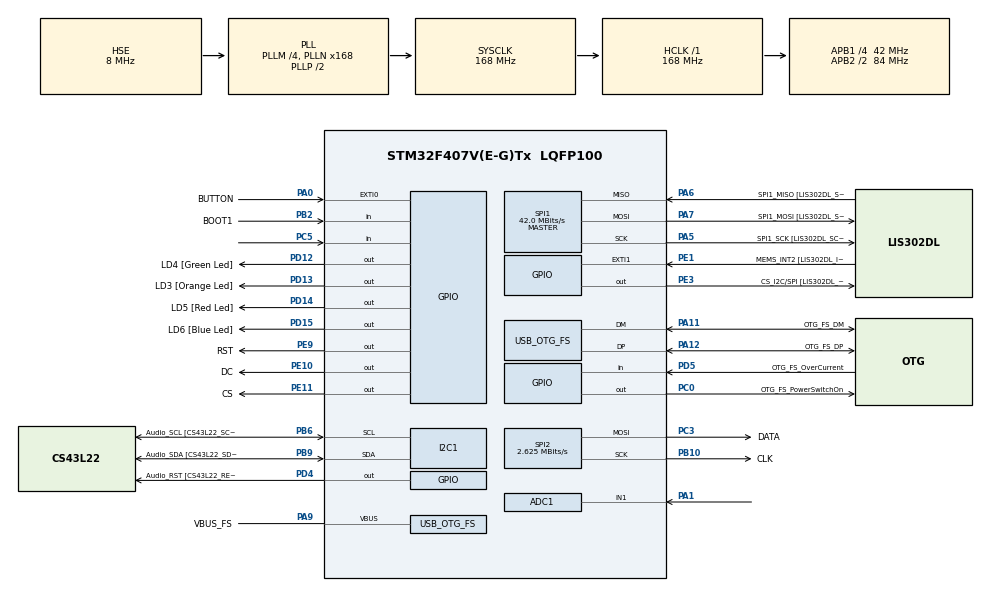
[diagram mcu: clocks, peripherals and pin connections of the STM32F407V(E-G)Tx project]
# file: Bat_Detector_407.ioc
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ADC1.Channel-0\#ChannelRegularConversion=ADC_CHANNEL_1
ADC1.ContinuousConvMode=DISABLE
ADC1.DMAContinuousRequests=ENABLE
ADC1.ExternalTrigConv=ADC_EXTERNALTRIGCONV_T3_TRGO
ADC1.NbrOfConversionFlag=1
ADC1.Rank-0\#ChannelRegularConversion=1
ADC1.Resolution=ADC_RESOLUTION_12B
ADC1.SamplingTime-0\#ChannelRegularConversion=ADC_SAMPLETIME_3CYCLES
ADC1.master=1
Dma.ADC1.0.Direction=DMA_PERIPH_TO_MEMORY
Dma.ADC1.0.FIFOMode=DMA_FIFOMODE_DISABLE
Dma.ADC1.0.Instance=DMA2_Stream0
Dma.ADC1.0.MemDataAlignment=DMA_MDATAALIGN_HALFWORD
Dma.ADC1.0.MemInc=DMA_MINC_ENABLE
Dma.ADC1.0.Mode=DMA_CIRCULAR
Dma.ADC1.0.PeriphDataAlignment=DMA_PDATAALIGN_HALFWORD
Dma.ADC1.0.PeriphInc=DMA_PINC_DISABLE
Dma.ADC1.0.Priority=DMA_PRIORITY_LOW
Dma.Request0=ADC1
FATFS._FS_LOCK=3
FATFS._USE_LFN=1
Mcu.Family=STM32F4
Mcu.Name=STM32F407V(E-G)Tx
Mcu.Package=LQFP100
NVIC.DMA2_Stream0_IRQn=true\:0\:0\:false\:false\:true\:false\:true
NVIC.EXTI0_IRQn=true\:0\:0\:false\:false\:true\:true\:true
NVIC.OTG_FS_IRQn=true\:0\:0\:false\:false\:true\:true\:true
NVIC.PriorityGroup=NVIC_PRIORITYGROUP_0
NVIC.TIM3_IRQn=true\:0\:0\:false\:false\:true\:true\:true
PA0-WKUP.GPIO_Label=BUTTON
PA0-WKUP.GPIO_ModeDefaultEXTI=GPIO_MODE_IT_RISING
PA0-WKUP.GPIO_PuPd=GPIO_NOPULL
PA0-WKUP.Signal=GPXTI0
PA1.Signal=ADCx_IN1
PA10.GPIO_Label=OTG_FS_ID
PA10.GPIO_Mode=GPIO_MODE_AF_PP
PA10.GPIO_PuPd=GPIO_NOPULL
PA10.GPIO_Speed=GPIO_SPEED_FREQ_LOW
PA10.Signal=USB_OTG_FS_ID
PA11.GPIO_Label=OTG_FS_DM
PA11.GPIO_Mode=GPIO_MODE_AF_PP
PA11.GPIO_PuPd=GPIO_NOPULL
PA11.GPIO_Speed=GPIO_SPEED_FREQ_LOW
PA11.Mode=Host_Only
PA11.Signal=USB_OTG_FS_DM
PA12.GPIO_Label=OTG_FS_DP
PA12.GPIO_Mode=GPIO_MODE_AF_PP
PA12.GPIO_PuPd=GPIO_NOPULL
PA12.GPIO_Speed=GPIO_SPEED_FREQ_LOW
PA12.Mode=Host_Only
PA12.Signal=USB_OTG_FS_DP
PA13.GPIO_Label=SWDIO
PA13.Mode=Serial_Wire
PA13.Signal=SYS_JTMS-SWDIO
PA14.GPIO_Label=SWCLK
PA14.Mode=Serial_Wire
PA14.Signal=SYS_JTCK-SWCLK
PA4.GPIO_Label=I2S3_WS [CS43L22_LRCK]
PA4.GPIO_Mode=GPIO_MODE_AF_PP
PA4.GPIO_PuPd=GPIO_NOPULL
PA4.GPIO_Speed=GPIO_SPEED_FREQ_LOW
PA4.Signal=I2S3_WS
PA5.GPIO_Label=SPI1_SCK [LIS302DL_SCL/SPC]
PA5.GPIO_Mode=GPIO_MODE_AF_PP
PA5.GPIO_PuPd=GPIO_NOPULL
PA5.GPIO_Speed=GPIO_SPEED_FREQ_LOW
PA5.Mode=Full_Duplex_Master
PA5.Signal=SPI1_SCK
PA6.GPIO_Label=SPI1_MISO [LIS302DL_SDO]
PA6.GPIO_Mode=GPIO_MODE_AF_PP
PA6.GPIO_PuPd=GPIO_NOPULL
PA6.GPIO_Speed=GPIO_SPEED_FREQ_LOW
PA6.Mode=Full_Duplex_Master
PA6.Signal=SPI1_MISO
PA7.GPIO_Label=SPI1_MOSI [LIS302DL_SDA/SDI/SDO]
PA7.GPIO_Mode=GPIO_MODE_AF_PP
PA7.GPIO_PuPd=GPIO_NOPULL
PA7.GPIO_Speed=GPIO_SPEED_FREQ_LOW
PA7.Mode=Full_Duplex_Master
PA7.Signal=SPI1_MOSI
PA9.GPIO_Label=VBUS_FS
PA9.GPIO_Mode=GPIO_MODE_INPUT
PA9.GPIO_PuPd=GPIO_NOPULL
PA9.Mode=Activate_VBUS
PA9.Signal=USB_OTG_FS_VBUS
PB10.GPIO_Label=CLK
PB10.Mode=TX_Only_Simplex_Unidirect_Master
PB10.Signal=SPI2_SCK
PB2.GPIO_Label=BOOT1
PB2.GPIO_Mode=GPIO_MODE_INPUT
PB2.GPIO_PuPd=GPIO_NOPULL
PB2.Signal=GPIO_Input
PB3.GPIO_Label=SWO
PB3.Signal=SYS_JTDO-SWO
PB6.GPIO_Label=Audio_SCL [CS43L22_SCL]
PB6.GPIO_Mode=GPIO_MODE_AF_OD
PB6.GPIO_PuPd=GPIO_NOPULL
PB6.GPIO_Speed=GPIO_SPEED_FREQ_LOW
PB6.Mode=I2C
PB6.Signal=I2C1_SCL
PB9.GPIO_Label=Audio_SDA [CS43L22_SDA]
PB9.GPIO_Mode=GPIO_MODE_AF_OD
PB9.GPIO_PuPd=GPIO_NOPULL
PB9.GPIO_Speed=GPIO_SPEED_FREQ_LOW
PB9.Mode=I2C
PB9.Signal=I2C1_SDA
PC0.GPIO_Label=OTG_FS_PowerSwitchOn
PC0.GPIO_PuPd=GPIO_NOPULL
PC0.GPIO_Speed=GPIO_SPEED_FREQ_LOW
PC0.PinState=GPIO_PIN_SET
PC0.Signal=GPIO_Output
PC10.GPIO_Label=I2S3_SCK [CS43L22_SCLK]
PC10.GPIO_Mode=GPIO_MODE_AF_PP
PC10.GPIO_PuPd=GPIO_NOPULL
PC10.GPIO_Speed=GPIO_SPEED_FREQ_LOW
PC10.Signal=I2S3_CK
PC12.GPIO_Label=I2S3_SD [CS43L22_SDIN]
PC12.GPIO_Mode=GPIO_MODE_AF_PP
PC12.GPIO_PuPd=GPIO_NOPULL
PC12.GPIO_Speed=GPIO_SPEED_FREQ_LOW
PC12.Signal=I2S3_SD
PC14-OSC32_IN.GPIO_Label=PC14-OSC32_IN
PC14-OSC32_IN.Mode=LSE-External-Oscillator
PC14-OSC32_IN.Signal=RCC_OSC32_IN
PC15-OSC32_OUT.GPIO_Label=PC15-OSC32_OUT
PC15-OSC32_OUT.Mode=LSE-External-Oscillator
PC15-OSC32_OUT.Signal=RCC_OSC32_OUT
PC3.GPIO_Label=DATA
PC3.Mode=TX_Only_Simplex_Unidirect_Master
PC3.Signal=SPI2_MOSI
PC5.Signal=GPIO_Input
PC7.GPIO_Label=I2S3_MCK [CS43L22_MCLK]
PC7.GPIO_Mode=GPIO_MODE_AF_PP
PC7.GPIO_PuPd=GPIO_NOPULL
PC7.GPIO_Speed=GPIO_SPEED_FREQ_LOW
PC7.Signal=I2S3_MCK
PD12.GPIO_Label=LD4 [Green Led]
PD12.GPIO_PuPd=GPIO_NOPULL
PD12.GPIO_Speed=GPIO_SPEED_FREQ_LOW
PD12.Signal=GPIO_Output
PD13.GPIO_Label=LD3 [Orange Led]
PD13.GPIO_PuPd=GPIO_NOPULL
PD13.GPIO_Speed=GPIO_SPEED_FREQ_LOW
PD13.Signal=GPIO_Output
PD14.GPIO_Label=LD5 [Red Led]
PD14.GPIO_PuPd=GPIO_NOPULL
PD14.GPIO_Speed=GPIO_SPEED_FREQ_LOW
PD14.Signal=GPIO_Output
PD15.GPIO_Label=LD6 [Blue Led]
PD15.GPIO_PuPd=GPIO_NOPULL
PD15.GPIO_Speed=GPIO_SPEED_FREQ_LOW
PD15.Signal=GPIO_Output
PD4.GPIO_Label=Audio_RST [CS43L22_RESET]
PD4.GPIO_PuPd=GPIO_NOPULL
PD4.GPIO_Speed=GPIO_SPEED_FREQ_LOW
PD4.Signal=GPIO_Output
PD5.GPIO_Label=OTG_FS_OverCurrent
PD5.GPIO_Mode=GPIO_MODE_INPUT
PD5.GPIO_PuPd=GPIO_NOPULL
PD5.Signal=GPIO_Input
PE1.GPIO_Label=MEMS_INT2 [LIS302DL_INT2]
PE1.GPIO_ModeDefaultEXTI=GPIO_MODE_EVT_RISING
PE1.GPIO_PuPd=GPIO_NOPULL
PE1.Signal=GPXTI1
PE10.GPIO_Label=DC
PE10.Signal=GPIO_Output
PE11.GPIO_Label=CS
PE11.Signal=GPIO_Output
PE3.GPIO_Label=CS_I2C/SPI [LIS302DL_CS_I2C/SPI]
PE3.GPIO_PuPd=GPIO_NOPULL
PE3.GPIO_Speed=GPIO_SPEED_FREQ_LOW
PE3.Signal=GPIO_Output
PE9.GPIO_Label=RST
PE9.Signal=GPIO_Output
PH0-OSC_IN.GPIO_Label=PH0-OSC_IN
PH0-OSC_IN.Mode=HSE-External-Oscillator
PH0-OSC_IN.Signal=RCC_OSC_IN
PH1-OSC_OUT.GPIO_Label=PH1-OSC_OUT
PH1-OSC_OUT.Mode=HSE-External-Oscillator
PH1-OSC_OUT.Signal=RCC_OSC_OUT
ProjectManager.HeapSize=0x400
ProjectManager.StackSize=0x800
ProjectManager.TargetToolchain=STM32CubeIDE
RCC.48MHZClocksFreq_Value=48000000
RCC.AHBFreq_Value=168000000
RCC.APB1CLKDivider=RCC_HCLK_DIV4
RCC.APB1Freq_Value=42000000
RCC.APB1TimFreq_Value=84000000
RCC.APB2CLKDivider=RCC_HCLK_DIV2
RCC.APB2Freq_Value=84000000
RCC.APB2TimFreq_Value=168000000
RCC.CortexFreq_Value=168000000
RCC.HCLKFreq_Value=168000000
RCC.HSE_VALUE=8000000
RCC.HSI_VALUE=16000000
RCC.PLLI2SN=50
RCC.PLLM=4
RCC.PLLN=168
RCC.PLLQ=7
RCC.SYSCLKFreq_VALUE=168000000
RCC.SYSCLKSource=RCC_SYSCLKSOURCE_PLLCLK
RCC.VCOOutputFreq_Value=336000000
SH.ADCx_IN1.0=ADC1_IN1,IN1
SPI1.BaudRatePrescaler=SPI_BAUDRATEPRESCALER_2
SPI1.BaudRatePrescaler-Full_Duplex_Master=SPI_BAUDRATEPRESCALER_2
SPI1.CalculateBaudRate=42.0 MBits/s
SPI1.CalculateBaudRate-Full_Duplex_Master=42.0 MBits/s
SPI1.Direction=SPI_DIRECTION_2LINES
SPI1.Mode=SPI_MODE_MASTER
SPI1.Mode-Full_Duplex_Master=SPI_MODE_MASTER
SPI1.VirtualType=VM_MASTER
SPI2.BaudRatePrescaler=SPI_BAUDRATEPRESCALER_16
SPI2.CalculateBaudRate=2.625 MBits/s
SPI2.Direction=SPI_DIRECTION_2LINES
SPI2.Mode=SPI_MODE_MASTER
SPI2.VirtualType=VM_MASTER
TIM3.Period=874
TIM3.Prescaler=0
TIM3.TIM_MasterOutputTrigger=TIM_TRGO_UPDATE
USB_HOST.BSP.number=1
USB_HOST.USBH_HandleTypeDef-MSC_FS=hUsbHostFS
USB_HOST.VirtualModeFS=Msc
USB_HOST0.BSP.STBoard=false
USB_HOST0.BSP.api=Unknown
USB_HOST0.BSP.i2caddr=0
USB_HOST0.BSP.i2creg=0
USB_HOST0.BSP.instance=PC0
USB_HOST0.BSP.ip=GPIO
USB_HOST0.BSP.mode=Output
USB_HOST0.BSP.name=Drive_VBUS_FS
USB_HOST0.BSP.solution=PC0
USB_OTG_FS.VirtualMode=Host_Only
USB_OTG_FS.phy_itface=HCD_PHY_EMBEDDED
VP_FATFS_VS_USB.Mode=USB
VP_RTC_VS_RTC_Activate.Mode=RTC_Enabled
VP_RTC_VS_RTC_Calendar.Mode=RTC_Calendar
VP_TIM3_VS_ClockSourceINT.Mode=Internal
VP_USB_HOST_VS_USB_HOST_MSC_FS.Mode=MSC_FS
board=STM32F407G-DISC1

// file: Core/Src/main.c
/* USER CODE BEGIN Header */
/**
  ******************************************************************************
  * @file           : main.c
  * @brief          : Main program body
  ******************************************************************************
  * @attention
  *
  * <h2><center>&copy; Copyright (c) 2021 STMicroelectronics.
  * All rights reserved.</center></h2>
  *
  * This software component is licensed by ST under Ultimate Liberty license
  * SLA0044, the "License"; You may not use this file except in compliance with
  * the License. You may obtain a copy of the License at:
  *                             www.st.com/SLA0044
  *
  ******************************************************************************
  */
/* USER CODE END Header */
#include "main.h"
#include "adc.h"
#include "dma.h"
#include "fatfs.h"
#include "i2c.h"
#include "rtc.h"
#include "spi.h"
#include "tim.h"
#include "usb_host.h"
#include "gpio.h"

/* USER CODE BEGIN Includes */

#include <string.h>
#include "screen.h"
#include "debug.h"

#include "arm_math.h"
#include "arm_const_structs.h"

#include "dsp.h"

#include "files.h"

/* USER CODE END Includes */

/* USER CODE BEGIN PD */

// size of DMA buffer
#define BUFF_SIZE 4096

#define BUFF_HALF BUFF_SIZE / 2

#define READ_BUFFER_SIZE FFT_SIZE

#define TITLE_SIZE 40

// limits of digital input for ultrasound detection
#define RECORD_MAX_LIM 1500

#define RECORD_MIN_LIM 500

// sampling frequency
#define FREQUENCY 96000

#define TIME 3

#define SAMPLES_NUM FREQUENCY * TIME

/* USER CODE END PD */

/* USER CODE BEGIN PV */

typedef enum state_t {
	IDLE,
	MOUNTING,
	MOUNTED,
	RECORDING_START,
	RECORDING,
	COPY_FIRST_HALF,
	COPY_SECOND_HALF,
	RECORDING_STOP,
	PROCESSING
} state_t;

volatile state_t state = IDLE;

uint16_t ADC_Buffer[BUFF_SIZE];

volatile uint16_t current_index = 0;

/* USER CODE END PV */

void SystemClock_Config(void);
void MX_USB_HOST_Process(void);

/* USER CODE BEGIN PFP */

// writes buffer data to specific file starting from specific index
// (adds number of written samples from "written")
void write_buffer(
		usb_file_t* usb_file, uint16_t* buffer,
		uint16_t start, uint16_t amount, uint32_t* written
		);
/* USER CODE END PFP */

/* USER CODE BEGIN 0 */
extern ApplicationTypeDef Appli_state;

/* USER CODE END 0 */

int main(void)
{
  /* USER CODE BEGIN 1 */
	FATFS flashdrive;
	usb_file_t wav_file;
	usb_file_t info_file;
	usb_file_t raw_data_file;
	uint32_t written = 0;

	char title[TITLE_SIZE];
	char info_title[TITLE_SIZE];

	float32_t magnitude;
	float32_t intensity;
	uint32_t index;
	float32_t frequency;
	uint16_t prev;

	uint16_t to_read;

	uint16_t Read_Buffer[READ_BUFFER_SIZE];

	uint16_t Temporary_Buffer[READ_BUFFER_SIZE];

	float32_t FFT_Buffer[FFT_BUFFER_SIZE];

  /* USER CODE END 1 */

  /* MCU Configuration--------------------------------------------------------*/

  /* Reset of all peripherals, Initializes the Flash interface and the Systick. */
  HAL_Init();

  /* Configure the system clock */
  SystemClock_Config();

  /* Initialize all configured peripherals */
  MX_GPIO_Init();
  MX_DMA_Init();
  MX_I2C1_Init();
  MX_SPI1_Init();
  MX_USB_HOST_Init();
  MX_RTC_Init();
  MX_TIM3_Init();
  MX_ADC1_Init();
  MX_FATFS_Init();
  MX_SPI2_Init();
  /* USER CODE BEGIN 2 */
  HAL_TIM_Base_Start_IT(&htim3);
  HAL_ADC_Start_DMA(&hadc1, (uint32_t*) ADC_Buffer, BUFF_SIZE);

  create_header(&wav_file, FREQUENCY, TIME, 4);
  raw_data_file.title = "raw_data.wav";
  main_screen_init();

  println("DEVICE IS\n READY!");
  HAL_Delay(1000);

  /* USER CODE END 2 */

  /* Infinite loop */
  while (1)
  {
    MX_USB_HOST_Process();

    /* USER CODE BEGIN 3 */
    switch(state) {
    case MOUNTING:
    	clear_print("MOUNTING USB\n FLASHDRIVE...");
    	send_signal(f_mount(&flashdrive, USBHPath, 1));
    	println("MOUNTED");
    	HAL_Delay(1000);

    	state = MOUNTED;
    	break;

    case RECORDING_START:
    	// creates file for saving samples
    	HAL_GPIO_WritePin(LD4_GPIO_Port, LD4_Pin, GPIO_PIN_RESET);
    	create_file(&raw_data_file);
    	clear_print("RECOR...");
    	state = RECORDING;
    	break;

    case COPY_FIRST_HALF:
    	state = RECORDING;
    	// copying first half of buffer to file
    	write_buffer(&raw_data_file, ADC_Buffer, 0, BUFF_HALF, &written);
    	break;

    case COPY_SECOND_HALF:
    	state = RECORDING;
    	// copying second half of buffer to file
    	write_buffer(&raw_data_file, ADC_Buffer, BUFF_HALF, BUFF_HALF, &written);
    	break;

    case RECORDING_STOP:
    	HAL_GPIO_TogglePin(LD4_GPIO_Port, LD4_Pin);
    	// closing file to save it
    	close_file(&raw_data_file);
    	state = PROCESSING;
    	clear_print("PROCESSING\nDATA...");
    	break;

    case PROCESSING:
    	HAL_GPIO_TogglePin(LD4_GPIO_Port, LD4_Pin);
    	HAL_GPIO_TogglePin(LD6_GPIO_Port, LD6_Pin);

    	// creating wav file for our audio
    	generate_title(title, "%dh%dm%ds.wav", TITLE_SIZE);
    	wav_file.title = title;
    	create_file(&wav_file);
    	write_header(&wav_file);

    	// creating info file for measured frequencies and intensities
    	generate_title(info_title, "%dh%dm%ds.txt", TITLE_SIZE);
    	info_file.title = info_title;
    	create_file(&info_file);

    	// opening raw data to read it
    	read_file(&raw_data_file);

    	// initializing FIR filter
    	init_filter();

    	prev = FIRST_SIGNAL;

    	while (written > 0) {
    		HAL_GPIO_TogglePin(LD4_GPIO_Port, LD4_Pin);

    		if (written >= READ_BUFFER_SIZE) {
    			to_read = READ_BUFFER_SIZE;
    		}
    		else {
    			to_read = written;
    		}

    		written -= to_read;

    		// reading data and filtering it with linear filter for
    		// calculating frequencies
    		read_buffer(&raw_data_file, Read_Buffer, to_read);
    		linear_filter(Read_Buffer, prev, READ_BUFFER_SIZE, Temporary_Buffer);

    		// using High-Pass filter on our data
    		fir_filter(Read_Buffer);
    		// saving  filtered data to wav file
    		write_little_endian_data(&wav_file, Read_Buffer, to_read);

    		// performing FFT and calculating main frequency
    		// and intensity for data filtered with linear filter
    		perform_fft(Temporary_Buffer, 0, FFT_Buffer);
    		calculate_magnitudes(FFT_Buffer, &magnitude, &index);
    		frequency = get_frequency(index, FREQUENCY);
    		intensity = get_intensity(magnitude);

    		// writing information to file
    		write_str(&info_file, "Frequency: ", 11);
    		write_array(&info_file, &frequency, 1);
    		write_str(&info_file, "Intensity: ", 11);
    		write_array(&info_file, &intensity, 1);
    		write_str(&info_file, "\n", 1);

    		// setting prev variable for next linear filter
    		// cycle
    		prev = Temporary_Buffer[READ_BUFFER_SIZE - 1];

    	}
    	// closing all files
    	close_file(&raw_data_file);
    	close_file(&wav_file);
    	close_file(&info_file);

    	clear_print("WRITTEN TO");
    	println(title);
    	println("and");
    	println(info_title);
    	println("WAITING...");

    	HAL_GPIO_TogglePin(LD6_GPIO_Port, LD6_Pin);
    	HAL_GPIO_WritePin(LD4_GPIO_Port, LD4_Pin, GPIO_PIN_RESET);
    	state = MOUNTED;
    default:
    	break;
    }

  }
  /* USER CODE END 3 */
}

void SystemClock_Config(void)
{
  RCC_OscInitTypeDef RCC_OscInitStruct = {0};
  RCC_ClkInitTypeDef RCC_ClkInitStruct = {0};
  RCC_PeriphCLKInitTypeDef PeriphClkInitStruct = {0};

  /** Configure the main internal regulator output voltage
  */
  __HAL_RCC_PWR_CLK_ENABLE();
  __HAL_PWR_VOLTAGESCALING_CONFIG(PWR_REGULATOR_VOLTAGE_SCALE1);
  /** Initializes the RCC Oscillators according to the specified parameters
  * in the RCC_OscInitTypeDef structure.
  */
  RCC_OscInitStruct.OscillatorType = RCC_OSCILLATORTYPE_LSI|RCC_OSCILLATORTYPE_HSE;
  RCC_OscInitStruct.HSEState = RCC_HSE_ON;
  RCC_OscInitStruct.LSIState = RCC_LSI_ON;
  RCC_OscInitStruct.PLL.PLLState = RCC_PLL_ON;
  RCC_OscInitStruct.PLL.PLLSource = RCC_PLLSOURCE_HSE;
  RCC_OscInitStruct.PLL.PLLM = 4;
  RCC_OscInitStruct.PLL.PLLN = 168;
  RCC_OscInitStruct.PLL.PLLP = RCC_PLLP_DIV2;
  RCC_OscInitStruct.PLL.PLLQ = 7;
  if (HAL_RCC_OscConfig(&RCC_OscInitStruct) != HAL_OK)
  {
    Error_Handler();
  }
  /** Initializes the CPU, AHB and APB buses clocks
  */
  RCC_ClkInitStruct.ClockType = RCC_CLOCKTYPE_HCLK|RCC_CLOCKTYPE_SYSCLK
                              |RCC_CLOCKTYPE_PCLK1|RCC_CLOCKTYPE_PCLK2;
  RCC_ClkInitStruct.SYSCLKSource = RCC_SYSCLKSOURCE_PLLCLK;
  RCC_ClkInitStruct.AHBCLKDivider = RCC_SYSCLK_DIV1;
  RCC_ClkInitStruct.APB1CLKDivider = RCC_HCLK_DIV4;
  RCC_ClkInitStruct.APB2CLKDivider = RCC_HCLK_DIV2;

  if (HAL_RCC_ClockConfig(&RCC_ClkInitStruct, FLASH_LATENCY_5) != HAL_OK)
  {
    Error_Handler();
  }
  PeriphClkInitStruct.PeriphClockSelection = RCC_PERIPHCLK_RTC;
  PeriphClkInitStruct.RTCClockSelection = RCC_RTCCLKSOURCE_LSI;
  if (HAL_RCCEx_PeriphCLKConfig(&PeriphClkInitStruct) != HAL_OK)
  {
    Error_Handler();
  }
}

/* USER CODE BEGIN 4 */
void HAL_GPIO_EXTI_Callback(uint16_t GPIO_PIN) {
	if (GPIO_PIN == BUTTON_Pin){

		switch(state) {

		case IDLE:
			// mounting usb after button press
			if (Appli_state == APPLICATION_READY) {
				HAL_GPIO_TogglePin(LD4_GPIO_Port, LD4_Pin);
			    state = MOUNTING;
			}
			else {
				HAL_GPIO_TogglePin(LD5_GPIO_Port, LD5_Pin);
			}
			break;

		case MOUNTED:
			// recording after button press
			HAL_GPIO_TogglePin(LD4_GPIO_Port, LD4_Pin);
			state = RECORDING_START;
			break;

		default:
			break;
		}

	}
}

void HAL_TIM_PeriodElapsedCallback(TIM_HandleTypeDef *htim){
	if (htim->Instance == TIM3){
		if (current_index >= BUFF_SIZE){
			current_index = 0;
		}
		// ultrasound detected
		if (
			state == MOUNTED && (ADC_Buffer[current_index] >= RECORD_MAX_LIM
			|| ADC_Buffer[current_index] <= RECORD_MIN_LIM)

		) {
			state = RECORDING_START;
			HAL_GPIO_TogglePin(LD4_GPIO_Port, LD4_Pin);
		}
		current_index += 1;
	}
}

void HAL_ADC_ConvHalfCpltCallback(ADC_HandleTypeDef* hadc){
	if (state == RECORDING) {
		state = COPY_FIRST_HALF;
	}
	HAL_GPIO_TogglePin(LD3_GPIO_Port, LD3_Pin);
}

void HAL_ADC_ConvCpltCallback(ADC_HandleTypeDef* hadc){
	if (state == RECORDING) {
		state = COPY_SECOND_HALF;
	}
	HAL_GPIO_TogglePin(LD3_GPIO_Port, LD3_Pin);
}

void write_buffer(
		usb_file_t* usb_file, uint16_t* buffer,
		uint16_t start, uint16_t amount, uint32_t* written)
{
	HAL_GPIO_WritePin(LD6_GPIO_Port, LD6_Pin, GPIO_PIN_SET);

	// if we don't have enough memory in our file
	// for full buffer
	if (*written + amount > SAMPLES_NUM) {
		amount = SAMPLES_NUM - *written;
		state = RECORDING_STOP;
	}

	write_data(usb_file, buffer + start, amount);
	*written += amount;
	HAL_GPIO_WritePin(LD6_GPIO_Port, LD6_Pin, GPIO_PIN_RESET);

}

/* USER CODE END 4 */

void Error_Handler(void)
{
}

/************************ (C) COPYRIGHT STMicroelectronics *****END OF FILE****/
